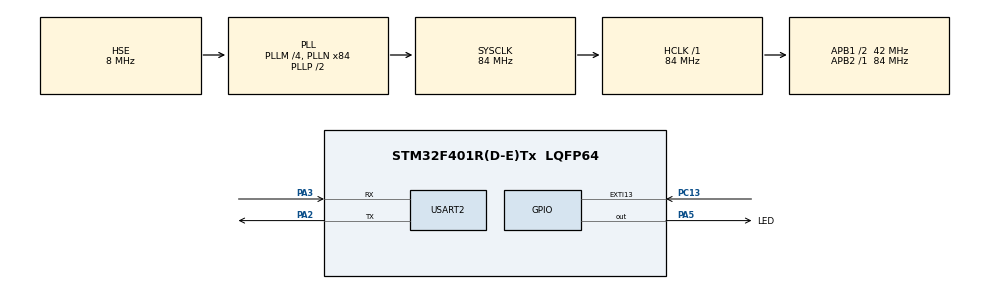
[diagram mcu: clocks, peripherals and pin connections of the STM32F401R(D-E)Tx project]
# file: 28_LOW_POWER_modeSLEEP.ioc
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Mcu.Family=STM32F4
Mcu.Name=STM32F401R(D-E)Tx
Mcu.Package=LQFP64
NVIC.EXTI15_10_IRQn=true\:0\:0\:false\:false\:true\:true\:true\:true
NVIC.PriorityGroup=NVIC_PRIORITYGROUP_4
NVIC.USART2_IRQn=true\:0\:0\:false\:false\:true\:true\:true\:true
PA13.Mode=Serial_Wire
PA13.Signal=SYS_JTMS-SWDIO
PA14.Mode=Serial_Wire
PA14.Signal=SYS_JTCK-SWCLK
PA2.Mode=Asynchronous
PA2.Signal=USART2_TX
PA3.Mode=Asynchronous
PA3.Signal=USART2_RX
PA5.GPIO_Label=LED
PA5.Signal=GPIO_Output
PC13-ANTI_TAMP.GPIO_ModeDefaultEXTI=GPIO_MODE_IT_FALLING
PC13-ANTI_TAMP.GPIO_PuPd=GPIO_PULLUP
PC13-ANTI_TAMP.Signal=GPXTI13
PH0\ -\ OSC_IN.Mode=HSE-External-Clock-Source
PH0\ -\ OSC_IN.Signal=RCC_OSC_IN
PH1\ -\ OSC_OUT.Mode=HSE-External-Clock-Source
PH1\ -\ OSC_OUT.Signal=RCC_OSC_OUT
ProjectManager.HeapSize=0x200
ProjectManager.StackSize=0x400
ProjectManager.TargetToolchain=STM32CubeIDE
RCC.48MHZClocksFreq_Value=42000000
RCC.AHBFreq_Value=84000000
RCC.APB1CLKDivider=RCC_HCLK_DIV2
RCC.APB1Freq_Value=42000000
RCC.APB1TimFreq_Value=84000000
RCC.APB2Freq_Value=84000000
RCC.APB2TimFreq_Value=84000000
RCC.CortexFreq_Value=84000000
RCC.HCLKFreq_Value=84000000
RCC.HSE_VALUE=8000000
RCC.HSI_VALUE=16000000
RCC.LSE_VALUE=32768
RCC.PLLM=4
RCC.PLLN=84
RCC.PLLSourceVirtual=RCC_PLLSOURCE_HSE
RCC.SYSCLKFreq_VALUE=84000000
RCC.SYSCLKSource=RCC_SYSCLKSOURCE_PLLCLK
RCC.VCOOutputFreq_Value=168000000
USART2.VirtualMode=VM_ASYNC
board=custom

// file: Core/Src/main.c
/* USER CODE BEGIN Header */
/**
  ******************************************************************************
  * @file           : main.c
  * @brief          : Main program body
  ******************************************************************************
  * @attention
  *
  * Copyright (c) 2024 STMicroelectronics.
  * All rights reserved.
  *
  * This software is licensed under terms that can be found in the LICENSE file
  * in the root directory of this software component.
  * If no LICENSE file comes with this software, it is provided AS-IS.
  *
  ******************************************************************************
  */
/* USER CODE END Header */
#include "main.h"
#include "usart.h"
#include "gpio.h"

/* USER CODE BEGIN Includes */
#include "string.h"
#include <stdio.h>
#include "stdbool.h"
/* USER CODE END Includes */

/* USER CODE BEGIN PV */
uint8_t * MSG_Sleep = {0};
bool Bandera = false;
uint8_t rx;
/* USER CODE END PV */

void SystemClock_Config(void);

int main(void)
{

  /* MCU Configuration--------------------------------------------------------*/

  /* Reset of all peripherals, Initializes the Flash interface and the Systick. */
  HAL_Init();

  /* Configure the system clock */
  SystemClock_Config();

  /* Initialize all configured peripherals */
  MX_GPIO_Init();
  MX_USART2_UART_Init();
  /* USER CODE BEGIN 2 */

  HAL_UART_Receive_IT(&huart2, &rx, 1);

  MSG_Sleep = "entrando al MODO SLEEP zzz en 10 segunodos\n\r";
  HAL_UART_Transmit(&huart2, MSG_Sleep, strlen(MSG_Sleep),HAL_MAX_DELAY);
  GPIOA -> ODR |= (1<<5); //poner a 1 el pin 5
  HAL_Delay(5000);

  /* USER CODE END 2 */

  /* Infinite loop */
  /* USER CODE BEGIN WHILE */
  while (1)
  {

	  //Suspende todo modo SLEEP
	    HAL_SuspendTick(); //deshabilitamos el systick timer
	    GPIOA->ODR &= ~(1<<5);

	    HAL_PWR_EnterSLEEPMode(PWR_MAINREGULATOR_ON, PWR_SLEEPENTRY_WFI); //WFI (waif for interrupt), despierta mediante una interrupcion
	    HAL_ResumeTick(); // activamos el systick timer
	    MSG_Sleep = "Despertando del Sleep Mode con el STM32F4:D\n\r";
	    HAL_UART_Transmit(&huart2, MSG_Sleep, strlen(MSG_Sleep),HAL_MAX_DELAY);

	    for(uint8_t var = 0; var <20; ++var){
	  	  GPIOA->ODR ^= (1<<5);
	  	  HAL_Delay(200);
	    }

    /* USER CODE END WHILE */

  }
}

void SystemClock_Config(void)
{
  RCC_OscInitTypeDef RCC_OscInitStruct = {0};
  RCC_ClkInitTypeDef RCC_ClkInitStruct = {0};

  /** Configure the main internal regulator output voltage
  */
  __HAL_RCC_PWR_CLK_ENABLE();
  __HAL_PWR_VOLTAGESCALING_CONFIG(PWR_REGULATOR_VOLTAGE_SCALE2);

  /** Initializes the RCC Oscillators according to the specified parameters
  * in the RCC_OscInitTypeDef structure.
  */
  RCC_OscInitStruct.OscillatorType = RCC_OSCILLATORTYPE_HSE;
  RCC_OscInitStruct.HSEState = RCC_HSE_BYPASS;
  RCC_OscInitStruct.PLL.PLLState = RCC_PLL_ON;
  RCC_OscInitStruct.PLL.PLLSource = RCC_PLLSOURCE_HSE;
  RCC_OscInitStruct.PLL.PLLM = 4;
  RCC_OscInitStruct.PLL.PLLN = 84;
  RCC_OscInitStruct.PLL.PLLP = RCC_PLLP_DIV2;
  RCC_OscInitStruct.PLL.PLLQ = 4;
  if (HAL_RCC_OscConfig(&RCC_OscInitStruct) != HAL_OK)
  {
    Error_Handler();
  }

  /** Initializes the CPU, AHB and APB buses clocks
  */
  RCC_ClkInitStruct.ClockType = RCC_CLOCKTYPE_HCLK|RCC_CLOCKTYPE_SYSCLK
                              |RCC_CLOCKTYPE_PCLK1|RCC_CLOCKTYPE_PCLK2;
  RCC_ClkInitStruct.SYSCLKSource = RCC_SYSCLKSOURCE_PLLCLK;
  RCC_ClkInitStruct.AHBCLKDivider = RCC_SYSCLK_DIV1;
  RCC_ClkInitStruct.APB1CLKDivider = RCC_HCLK_DIV2;
  RCC_ClkInitStruct.APB2CLKDivider = RCC_HCLK_DIV1;

  if (HAL_RCC_ClockConfig(&RCC_ClkInitStruct, FLASH_LATENCY_2) != HAL_OK)
  {
    Error_Handler();
  }
}

/* USER CODE BEGIN 4 */

void HAL_GPIO_EXTI_Callback(uint16_t GPIO_Pin)
{
	Bandera = true;
	MSG_Sleep = "Despertando del Sleep Mode, mediante interrupcion ext \n\r";
	HAL_UART_Transmit(&huart2, MSG_Sleep, strlen(MSG_Sleep),HAL_MAX_DELAY);
}

void HAL_UART_RxCpltCallback(UART_HandleTypeDef *huart)
{
	HAL_UART_Receive_IT(&huart2, &rx, 1);
	MSG_Sleep = "Despertando del Sleep Mode, mediante UART2 \n\r";
	HAL_UART_Transmit(&huart2, MSG_Sleep, strlen(MSG_Sleep),HAL_MAX_DELAY);
}

/* USER CODE END 4 */

void Error_Handler(void)
{
  __disable_irq();
  while (1)
  {
  }
}
